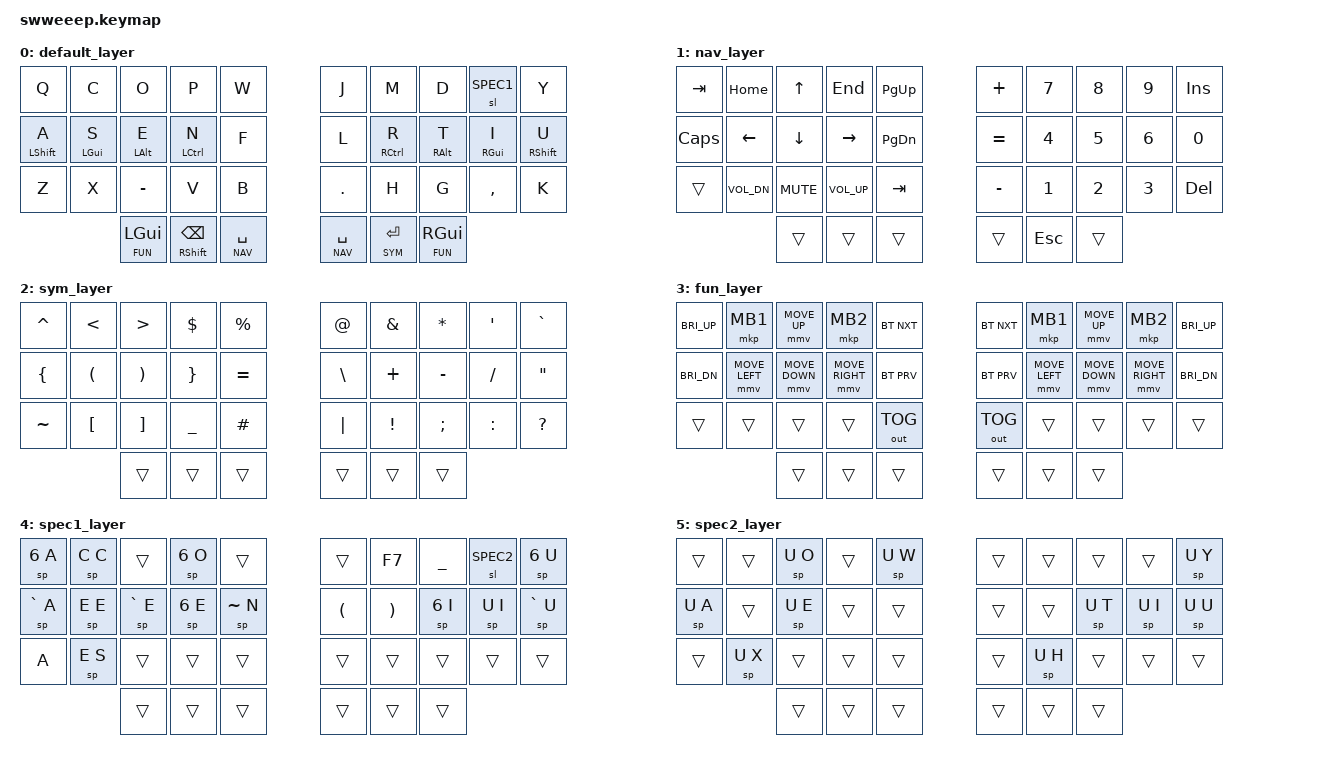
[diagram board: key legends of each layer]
#include <dt-bindings/zmk/pointing.h>
#include <behaviors.dtsi>
#include <dt-bindings/zmk/bt.h>
#include <dt-bindings/zmk/keys.h>
#include <dt-bindings/zmk/ext_power.h>
#include <dt-bindings/zmk/outputs.h>
#include <input/processors.dtsi>


#define ERGOL   0
#define NAV     1
#define SYM     2
#define FUN     3
#define SPEC1   4
#define SPEC2   5

/ {
    macros {
        sp: sp {
            compatible = "zmk,behavior-macro-two-param";
            #binding-cells = <2>;
            bindings
                = <&macro_press &kp LALT>
                , <&macro_param_1to1>
                , <&macro_tap &kp MACRO_PLACEHOLDER>
                , <&macro_release &kp LALT>
                , <&macro_tap &kp LALT>
                , <&macro_param_2to1>
                , <&macro_tap &kp MACRO_PLACEHOLDER>
                ;
        };
    };
};

/ {
    behaviors {
        hm: homerow_mods {
            compatible = "zmk,behavior-hold-tap";
            #binding-cells = <2>;
            tapping-term-ms = <220>;
            flavor = "tap-preferred";
            bindings = <&kp>, <&kp>;
        };
        hs: homerow_shift {
            compatible = "zmk,behavior-hold-tap";
            #binding-cells = <2>;
            tapping-term-ms = <220>;
            flavor = "tap-preferred";
            bindings = <&kp>, <&kp>;
        };
	bs: backspc_shift {
            compatible = "zmk,behavior-hold-tap";
            #binding-cells = <2>;
            tapping-term-ms = <220>;
	    quick-tap-ms = <220>;
            flavor = "tap-preferred";
            bindings = <&kp>, <&kp>;
	};
    };

    keymap {
        compatible = "zmk,keymap";

        default_layer {
            bindings = <
    &kp Q        &kp C        &kp O       &kp P         &kp W                                       &kp J       &kp M      &kp D      &sl SPEC1  &kp Y
    &hs LSHFT A  &hm LGUI S   &hm LALT E  &hm LCTL N    &kp F                                       &kp L       &hm RCTL R &hm RALT T &hm RGUI I &hs RSHFT U
    &kp Z        &kp X        &kp MINUS   &kp V         &kp B                                       &kp DOT     &kp H      &kp G      &kp COMMA  &kp K
                                          &lt FUN LGUI  &bs RSHFT BSPC &lt NAV SPACE &lt NAV SPACE  &lt SYM RET &lt FUN RGUI
            >;
        };

        nav_layer {
            bindings = <
    &kp TAB      &kp HOME     &kp UP      &kp END       &kp PG_UP                                   &kp PLUS      &kp N7       &kp N8        &kp N9      &kp INS
    &kp CAPS     &kp LEFT     &kp DOWN    &kp RIGHT     &kp PG_DN                                   &kp EQUAL     &kp N4       &kp N5        &kp N6      &kp N0
    &trans       &kp C_VOL_DN &kp C_MUTE  &kp C_VOL_UP  &kp TAB                                     &kp MINUS     &kp N1       &kp N2        &kp N3      &kp DEL
                                          &trans        &trans          &trans        &trans        &kp ESC       &trans
            >;
        };

        sym_layer {
            bindings = <
    &kp CARET    &kp LT       &kp GT      &kp DLLR      &kp PRCNT                                   &kp AT        &kp AMPS     &kp ASTRK     &kp SQT     &kp GRAVE
    &kp LBRC     &kp LPAR     &kp RPAR    &kp RBRC      &kp EQUAL                                   &kp BSLH      &kp PLUS     &kp MINUS     &kp FSLH    &kp DQT
    &kp TILDE    &kp LBKT     &kp RBKT    &kp UNDER     &kp HASH                                    &kp PIPE      &kp EXCL     &kp SEMI      &kp COLON   &kp QMARK
                                          &trans        &trans          &trans        &trans        &trans        &trans
            >;
        };

        fun_layer {
            bindings = <
    &kp C_BRI_UP &mkp MB1       &mmv MOVE_UP   &mkp MB2        &bt BT_NXT                  &bt BT_NXT   &mkp MB1       &mmv MOVE_UP   &mkp MB2          &kp C_BRI_UP
    &kp C_BRI_DN &mmv MOVE_LEFT &mmv MOVE_DOWN &mmv MOVE_RIGHT &bt BT_PRV                  &bt BT_PRV   &mmv MOVE_LEFT &mmv MOVE_DOWN &mmv MOVE_RIGHT   &kp C_BRI_DN
    &trans       &trans         &trans         &trans          &out OUT_TOG                &out OUT_TOG &trans         &trans         &trans            &trans
                                               &trans          &trans       &trans &trans  &trans       &trans
            >;
        };

        spec1_layer {
            bindings = <
    &sp N6 A     &sp C C      &trans      &sp N6 O     &trans                                       &trans        &kp F7       &kp UNDER     &sl SPEC2   &sp N6 U
    &sp GRAVE A  &sp E E      &sp GRAVE E &sp N6 E     &sp TILDE N                                  &kp LPAR      &kp RPAR     &sp N6 I      &sp U I     &sp GRAVE U
    &kp A        &sp E S      &trans      &trans       &trans                                       &trans        &trans       &trans        &trans      &trans
                                          &trans       &trans           &trans        &trans        &trans        &trans
            >;
        };

        spec2_layer {
            bindings = <
    &trans       &trans       &sp U O     &trans      &sp U W                                       &trans        &trans       &trans        &trans      &sp U Y
    &sp U A      &trans       &sp U E     &trans      &trans                                        &trans        &trans       &sp U T       &sp U I     &sp U U
    &trans       &sp U X      &trans      &trans      &trans                                        &trans        &sp U H      &trans        &trans      &trans
                                          &trans      &trans            &trans        &trans        &trans        &trans
            >;
        };
    };
};
